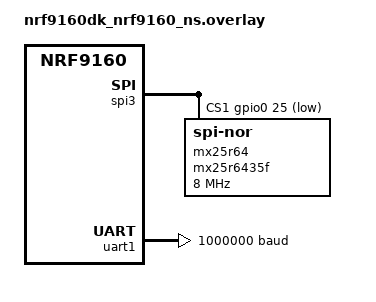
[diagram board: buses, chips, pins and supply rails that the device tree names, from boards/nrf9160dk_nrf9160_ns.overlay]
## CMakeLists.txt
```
#
# Copyright (c) 2022 Nordic Semiconductor
#
# SPDX-License-Identifier: LicenseRef-Nordic-5-Clause
#

cmake_minimum_required(VERSION 3.20.0)

find_package(Zephyr REQUIRED HINTS $ENV{ZEPHYR_BASE})
project(modem_trace_flash)

target_sources(app PRIVATE src/main.c)
target_sources_ifdef(MODEM_TRACE_FLASH_SAMPLE_UART app PRIVATE src/dump_uart.c)
```

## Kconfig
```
#
# Copyright (c) 2022 Nordic Semiconductor
#
# SPDX-License-Identifier: LicenseRef-Nordic-5-Clause
#

menu "Modem trace flash backend sample"

config MODEM_TRACE_FLASH_SAMPLE_UART
	bool
	default $(dt_chosen_enabled,$(DT_CHOSEN_NORDIC_MODEM_TRACE_UART))

endmenu

module = MODEM_TRACE_FLASH_SAMPLE
module-str = Modem trace flash backend
source "${ZEPHYR_BASE}/subsys/logging/Kconfig.template.log_config"

menu "Zephyr Kernel"
source "Kconfig.zephyr"
endmenu
```

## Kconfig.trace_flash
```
#
# Copyright (c) 2022 Nordic Semiconductor
#
# SPDX-License-Identifier: LicenseRef-Nordic-5-Clause
#

module = MODEM_TRACE_FLASH_BACKEND
module-str = Modem trace flash backend
source "${ZEPHYR_BASE}/subsys/logging/Kconfig.template.log_config"

if NRF_MODEM_LIB_TRACE

# Add NRF_MODEM_LIB_TRACE_BACKEND_FLASH to the trace backend choices.
choice NRF_MODEM_LIB_TRACE_BACKEND

config NRF_MODEM_LIB_TRACE_BACKEND_FLASH
	bool "Stream modem traces to flash"
	help
	  Configure nrf_modem_lib modem traces to use the flash backend in this sample.

endchoice # NRF_MODEM_LIB_TRACE_BACKEND

if NRF_MODEM_LIB_TRACE_BACKEND_FLASH

config PM_PARTITION_SIZE_MODEM_TRACE
	hex "External flash space reserved for modem traces"
	default 0x800000
	help
	  Flash space set aside for modem traces in the external flash.
endif # NRF_MODEM_LIB_TRACE_BACKEND_FLASH

endif # NRF_MODEM_LIB_TRACE_ENABLED
```

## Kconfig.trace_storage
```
#
# Copyright (c) 2022 Nordic Semiconductor
#
# SPDX-License-Identifier: LicenseRef-Nordic-5-Clause
#

module = MODEM_TRACE_STORAGE
module-str = Modem trace storage
source "${ZEPHYR_BASE}/subsys/logging/Kconfig.template.log_config"
```

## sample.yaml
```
sample:
  name: Modem trace flash
tests:
  sample.nrf9160.modem_trace_flash:
    build_only: true
    integration_platforms:
      - nrf9160dk_nrf9160_ns
    platform_allow: nrf9160dk_nrf9160_ns
    tags: ci_build
```

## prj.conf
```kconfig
#
# Copyright (c) 2022 Nordic Semiconductor ASA
#
# SPDX-License-Identifier: LicenseRef-Nordic-5-Clause
#

# Allow the application to reboot
CONFIG_REBOOT=y

# Logging
CONFIG_LOG=y
CONFIG_MODEM_TRACE_FLASH_SAMPLE_LOG_LEVEL_DBG=y
CONFIG_MODEM_TRACE_BACKEND_LOG_LEVEL_DBG=y

#CONFIG_NRF_MODEM_LIB_TRACE_BITRATE_LOG=y
#CONFIG_NRF_MODEM_LIB_TRACE_BACKEND_BITRATE_LOG=y

# Modem library
CONFIG_NRF_MODEM_LIB=y

# LTE link control
CONFIG_LTE_LINK_CONTROL=y

# Modem trace
CONFIG_NRF_MODEM_LIB_TRACE=y
CONFIG_NRF_MODEM_LIB_TRACE_BACKEND_FLASH=y

# Flash config
CONFIG_FCB=y
CONFIG_FLASH=y
CONFIG_FLASH_MAP=y

CONFIG_NRF_MODEM_TRACE_FLASH_NOSPACE_SIGNAL=y

# Heap and stacks
CONFIG_HEAP_MEM_POOL_SIZE=2048
CONFIG_MAIN_STACK_SIZE=4096
CONFIG_SYSTEM_WORKQUEUE_STACK_SIZE=4096
CONFIG_NRF_MODEM_LIB_TRACE_STACK_SIZE=4096

# GPIO
CONFIG_GPIO=y

# Library for buttons and LEDs
CONFIG_DK_LIBRARY=y

# UART
CONFIG_SERIAL=y

# Shell
CONFIG_SHELL=y
```

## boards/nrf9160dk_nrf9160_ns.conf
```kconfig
#
# Copyright (c) 2022 Nordic Semiconductor ASA
#
# SPDX-License-Identifier: LicenseRef-Nordic-5-Clause
#

CONFIG_SPI=y
CONFIG_SPI_NOR=y
CONFIG_SPI_NOR_SFDP_DEVICETREE=y

CONFIG_PM_OVERRIDE_EXTERNAL_DRIVER_CHECK=y
CONFIG_PM_PARTITION_SIZE_MODEM_TRACE=0x100000
```

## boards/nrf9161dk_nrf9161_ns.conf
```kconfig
#
# Copyright (c) 2022 Nordic Semiconductor ASA
#
# SPDX-License-Identifier: LicenseRef-Nordic-5-Clause
#

CONFIG_SPI=y
CONFIG_SPI_NOR=y
CONFIG_SPI_NOR_SFDP_DEVICETREE=y

CONFIG_PM_OVERRIDE_EXTERNAL_DRIVER_CHECK=y

# Reduce flash partition size to reduce erase time and flash usage.
CONFIG_NRF_MODEM_LIB_TRACE_BACKEND_FLASH_PARTITION_SIZE=0x100000
```

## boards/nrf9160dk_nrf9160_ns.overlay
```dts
/*
 * Copyright (c) 2022 Nordic Semiconductor ASA
 *
 * SPDX-License-Identifier: LicenseRef-Nordic-5-Clause
 */

 /* The mx25r64 definition would normally be included when specifying a nrf9160dk_nrf9160_ns
  * board revision >= 0.14.0, but unfortunately twister has a bug that prevents the revision
  * overlay to get loaded when testing the sample. */
&spi3 {
	cs-gpios = <&arduino_header 16 GPIO_ACTIVE_LOW>, /* D10 */
		   <&gpio0 25 GPIO_ACTIVE_LOW>;
	mx25r64: mx25r6435f@1 {
		compatible = "jedec,spi-nor";
		reg = <1>;
		status = "okay";
		spi-max-frequency = <8000000>;
		jedec-id = [c2 28 17];
		sfdp-bfp = [
			e5 20 f1 ff  ff ff ff 03  44 eb 08 6b  08 3b 04 bb
			ee ff ff ff  ff ff 00 ff  ff ff 00 ff  0c 20 0f 52
			10 d8 00 ff  23 72 f5 00  82 ed 04 cc  44 83 68 44
			30 b0 30 b0  f7 c4 d5 5c  00 be 29 ff  f0 d0 ff ff
		];
		size = <67108864>;
		mxicy,mx25r-power-mode = "high-performance";
	};
};

/* Enable high drive mode for the SPI3 pins to get a square signal at 8 MHz */
&spi3_default {
	group1 {
		nordic,drive-mode = <NRF_DRIVE_H0H1>;
	};
};

/* Enable UART1 at 1 megabaud for printing modem traces  */
&uart1 {
	status = "okay";
	current-speed = <1000000>;
};

/ {
	aliases {
		ext-flash = &mx25r64;
	};

	chosen {
		/* Configure partition manager to use mx25r64 as the external flash */
		nordic,pm-ext-flash = &mx25r64;
		/* Use UART1 for modem traces (on button press) */
		nordic,modem-trace-uart = &uart1;
	};
};
```

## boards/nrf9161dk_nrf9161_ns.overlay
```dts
/*
 * Copyright (c) 2022 Nordic Semiconductor ASA
 *
 * SPDX-License-Identifier: LicenseRef-Nordic-5-Clause
 */


/ {
	aliases {
		ext-flash = &gd25lb256;
	};

	/* Configure partition manager to use gd25lb256 as the external flash */
	chosen {
		nordic,pm-ext-flash = &gd25lb256;
	};
};

/* Enable UART1 at 1 megabaud for printing modem traces  */
&uart1 {
	status = "okay";
	current-speed = <1000000>;
};

&gd25lb256 {
	status = "okay";
};
```

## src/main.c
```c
/*
 * Copyright (c) 2022 Nordic Semiconductor ASA
 *
 * SPDX-License-Identifier: LicenseRef-Nordic-5-Clause
 */

#include <zephyr/kernel.h>
#include <zephyr/logging/log.h>
#include <modem/lte_lc.h>
#include <modem/nrf_modem_lib.h>
#include <modem/nrf_modem_lib_trace.h>
#include <nrf_modem.h>
#include <nrf_modem_at.h>
#include <dk_buttons_and_leds.h>

#include <zephyr/sys/reboot.h>

LOG_MODULE_REGISTER(modem_trace_flash_sample, CONFIG_MODEM_TRACE_FLASH_SAMPLE_LOG_LEVEL);

LTE_LC_ON_CFUN(cfun_hook, on_cfun, NULL);

/* Callback for when modem functional mode is changed */
static void on_cfun(enum lte_lc_func_mode mode, void *context)
{
	LOG_INF("LTE mode changed to %d\n", mode);
}



static void print_traces(void)
{
	if (IS_ENABLED(MODEM_TRACE_FLASH_SAMPLE_UART)) {
		print_traces();
	} else {
		LOG_ERR("No chosen device found for nordic,modem-trace-uart");
	}
}

static void button_handler(uint32_t button_states, uint32_t has_changed)
{
	if (has_changed & button_states & DK_BTN1_MSK) {
		printk("Button 1 pressed - dumping traces to uart1\n");
		print_traces();
	}

	if (has_changed & button_states & DK_BTN2_MSK) {
		printk("Button 2 pressed - restarting application\n");
		sys_reboot(SYS_REBOOT_WARM);
	}
}

void nrf_modem_lib_trace_callback(enum nrf_modem_lib_trace_event evt)
{
	switch (evt) {
	case NRF_MODEM_LIB_TRACE_EVT_FULL:
		printk("Modem trace backend is full\n");
		break;
	default:
		printk("Received trace callback %d\n", evt);
		break;
	}
}

int main(void)
{
	int err;

	LOG_INF("Modem trace backend sample started\n");

	err = dk_buttons_init(button_handler);
	if (err) {
		LOG_ERR("Failed to initialize DK buttons library, error: %d\n", err);
	}

	nrf_modem_lib_init();

	err = nrf_modem_lib_trace_level_set(NRF_MODEM_LIB_TRACE_LEVEL_FULL);
	if (err) {
		LOG_ERR("Failed to enable modem traces");
	}

	LOG_INF("Connecting to network\n");

	err = lte_lc_func_mode_set(LTE_LC_FUNC_MODE_NORMAL);
	if (err) {
		LOG_ERR("Failed to change LTE mode, err %d\n", err);
		return 0;
	}

	/* Leave the modem on for 10 seconds */
	k_sleep(K_SECONDS(10));

	err = lte_lc_func_mode_set(LTE_LC_FUNC_MODE_POWER_OFF);
	if (err) {
		LOG_ERR("Failed to change LTE mode, err %d\n", err);
		return 0;
	}

	/* Give the modem some time to turn off and receive traces */
	k_sleep(K_SECONDS(5));

	err = nrf_modem_lib_trace_level_set(NRF_MODEM_LIB_TRACE_LEVEL_OFF);
	if (err) {
		LOG_ERR("Failed to turn off modem traces\n");
	} else {
		LOG_INF("Turned off modem traces\n");
	}

	/* Changing the trace level to off will produce some traces, so sleep long enough to
	 * receive those as well.
	 */
	k_sleep(K_SECONDS(1));

	LOG_INF("Press button 1 to print traces to UART");
	LOG_INF("Press button 2 to restart application (warm boot)");

	return 0;
}
```

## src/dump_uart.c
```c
/*
 * Copyright (c) 2023 Nordic Semiconductor ASA
 *
 * SPDX-License-Identifier: LicenseRef-Nordic-5-Clause
 */
#include <zephyr/kernel.h>
#include <zephyr/logging/log.h>
#include <zephyr/device.h>
#include <zephyr/drivers/uart.h>

LOG_MODULE_REGISTER(modem_trace_flash_sample, CONFIG_MODEM_TRACE_FLASH_SAMPLE_LOG_LEVEL);

#define READ_BUF_SIZE CONFIG_NRF_MODEM_LIB_TRACE_BACKEND_FLASH_BUF_SIZE
#define UART_DEVICE_NODE DT_CHOSEN(nordic_modem_trace_uart)
static const struct device *const uart_dev = DEVICE_DT_GET_OR_NULL(UART_DEVICE_NODE);

static void print_uart(char *buf, int len)
{
	if (uart_dev == NULL || !device_is_ready(uart_dev)) {
		LOG_ERR("uart1 device not found/ready!");
		return;
	}
	for (int i = 0; i < len; i++) {
		uart_poll_out(uart_dev, buf[i]);
	}
}

static void print_traces(void)
{
	uint8_t read_buf[READ_BUF_SIZE];
	int ret;
	size_t read_offset = 0;

	if (!device_is_ready(uart_dev)) {
		LOG_ERR("uart1 device not found/ready!");
	}

	ret = nrf_modem_lib_trace_data_size();
	printk("Reading out %d bytes of trace data\n", ret);

	/* Read out the trace data from flash */
	while (ret > 0) {
		ret = nrf_modem_lib_trace_read(read_buf, READ_BUF_SIZE);
		if (ret < 0) {
			if (ret == -ENODATA) {
				break;
			}
			LOG_ERR("Error reading modem traces: %d", ret);
			break;
		}
		if (ret == 0) {
			LOG_DBG("No more traces to read from flash");
			break;
		}

		read_offset += ret;
		print_uart(read_buf, ret);
	}

	LOG_INF("Total trace bytes read from flash: %d", read_offset);
}
```

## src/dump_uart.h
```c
/*
 * Copyright (c) 2023 Nordic Semiconductor ASA
 *
 * SPDX-License-Identifier: LicenseRef-Nordic-5-Clause
 */

#ifndef MODEM_TRACE_FLASH_DUMP_UART_H
#define MODEM_TRACE_FLASH_DUMP_UART_H

static void print_traces(void);

#endif /* MODEM_TRACE_FLASH_DUMP_UART_H */
```

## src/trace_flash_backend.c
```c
/*
 * Copyright (c) 2022 Nordic Semiconductor ASA
 *
 * SPDX-License-Identifier: LicenseRef-Nordic-5-Clause
 */
#include <stdio.h>
#include <sys/errno.h>
#include <zephyr/logging/log.h>
#include <modem/trace_backend.h>

#include "trace_storage.h"

LOG_MODULE_REGISTER(modem_trace_flash_backend, CONFIG_MODEM_TRACE_FLASH_BACKEND_LOG_LEVEL);

static trace_backend_processed_cb trace_processed_callback;

int trace_backend_init(trace_backend_processed_cb trace_processed_cb)
{
	if (trace_processed_cb == NULL) {
		return -EFAULT;
	}

	trace_processed_callback = trace_processed_cb;

	return trace_storage_init();
}

int trace_backend_deinit(void)
{
	LOG_DBG("Flash trace backend deinitialized\n");
	return 0;
}

int trace_backend_write(const void *data, size_t len)
{
	int write_ret = trace_storage_write(data, len);

	if (write_ret < 0) {
		LOG_ERR("trace_storage_write failed: %d", write_ret);
	}

	int cb_ret = trace_processed_callback(len);

	if (cb_ret < 0) {
		LOG_ERR("trace_processed_callback failed: %d", cb_ret);
		return cb_ret;
	}

	if (write_ret < 0) {
		return write_ret;
	}

	return (int)len;
}
```

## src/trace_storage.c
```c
/*
 * Copyright (c) 2022 Nordic Semiconductor ASA
 *
 * SPDX-License-Identifier: LicenseRef-Nordic-5-Clause
 */

#include <stdio.h>
#include <string.h>
#include <sys/errno.h>
#include <zephyr/kernel.h>
#include <zephyr/storage/stream_flash.h>
#include <zephyr/storage/flash_map.h>
#include <zephyr/logging/log.h>

#include "trace_storage.h"

LOG_MODULE_REGISTER(modem_trace_storage, CONFIG_MODEM_TRACE_STORAGE_LOG_LEVEL);

#define EXT_FLASH_DEVICE DEVICE_DT_GET(DT_ALIAS(ext_flash))
#define TRACE_OFFSET FLASH_AREA_OFFSET(modem_trace)
#define TRACE_SIZE FLASH_AREA_SIZE(modem_trace)
#define BUF_LEN 1024

static const struct flash_area *modem_trace_area;
static const struct device *flash_dev;
static struct stream_flash_ctx stream;
static uint8_t stream_buf[BUF_LEN];
static bool has_flushed;

/* Persist trace size in .noinit RAM to survive warm boot. This functionality is not used in the
 * sample now, but is here to show how it's possible to know the size written to flash after a
 * crash/restart.
 */
static __noinit uint32_t magic;
static __noinit uint32_t traces_size;

static int64_t tot_write_time;

static int internal_flash_write(const void *data, size_t len, bool flush)
{
	int64_t uptime_ref = k_uptime_get();
	int64_t write_time;

	int err = stream_flash_buffered_write(&stream, data, len, flush);

	if (err != 0) {
		LOG_ERR("stream_flash_buffered_write error %d", err);
		return err;
	}

	write_time = k_uptime_delta(&uptime_ref);
	tot_write_time += write_time;

	traces_size += len;

	return 0;
}

static const uint32_t magic_val = 0x152ac523;
int trace_storage_init(void)
{
	int err;

	LOG_DBG("trace_storage_init\n");

	/* After a cold boot the magic and traces_size will contain random values. */
	if (magic != magic_val) {
		/* This is a cold reboot. Initialize. */
		LOG_DBG("Initializing .noinit\n");
		magic = magic_val;
		traces_size = 0;
	} else if (traces_size > 0) {
		LOG_DBG("Found modem traces stored in flash after soft reboot: %d", traces_size);
		/* Add custom logic here to preserve traces before erasing the flash */
	}

	traces_size = 0;

	err = flash_area_open(FLASH_AREA_ID(modem_trace), &modem_trace_area);
	if (err) {
		LOG_ERR("flash_area_open error:  %d", err);
		return -ENODEV;
	}

	err = flash_area_has_driver(modem_trace_area);
	if (err != 1) {
		LOG_ERR("flash_area_has_driver error: %d\n", err);
	}

	flash_dev = flash_area_get_device(modem_trace_area);
	if (flash_dev == NULL) {
		LOG_ERR("Failed to get flash device\n");
		return -ENODEV;
	}

	err = stream_flash_init(&stream, flash_dev, stream_buf, BUF_LEN, TRACE_OFFSET, TRACE_SIZE,
		NULL);
	if (err) {
		LOG_ERR("stream_flash_init error: %d", err);
		return err;
	}

	int64_t erase_before = k_uptime_get();

	/* In order to write modem traces uninterrupted at full speed, we need to erase the flash
	 * before starting the modem tracing.
	 */
	err = flash_erase(flash_dev, TRACE_OFFSET, TRACE_SIZE);
	if (err) {
		LOG_ERR("flash_erase error: %d", err);
		return err;
	}
	int64_t erase_time = k_uptime_delta(&erase_before);

	LOG_DBG("Erased %lu bytes in %lld ms", (unsigned long) TRACE_SIZE, erase_time);
	LOG_DBG("Erase speed %lld kb/s ", (TRACE_SIZE * 8 / erase_time));

	tot_write_time = 0;

	LOG_DBG("Modem trace flash storage initialized\n");

	return 0;
}

int trace_storage_flush(void)
{
	int err = internal_flash_write(NULL, 0, true);

	if (err != 0) {
		LOG_ERR("Flush to flash failed: %d", err);
		return err;
	}

	has_flushed = true;

	LOG_DBG("Written %d bytes in %lld ms", traces_size, tot_write_time);
	LOG_DBG("Throughput = %lld kb/s ", (traces_size * 8 / tot_write_time));

	return 0;
}

int trace_storage_read(uint8_t *buf, size_t len, size_t offset)
{
	__ASSERT(traces_size > offset, "offset should not exceed size of traces");
	uint32_t bytes_left = traces_size - offset;
	size_t read_len = MIN(bytes_left, len);

	if (!has_flushed) {
		return -EIO;
	}

	int err = flash_area_read(modem_trace_area, offset, buf, read_len);

	if (err != 0) {
		LOG_ERR("flash_area_read error %d", err);
		return err;
	}

	return read_len;
}

int trace_storage_write(const void *buf, size_t len)
{
	if (has_flushed) {
		return -EIO;
	}

	return internal_flash_write(buf, len, false);
}
```

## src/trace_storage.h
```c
/*
 * Copyright (c) 2022 Nordic Semiconductor ASA
 *
 * SPDX-License-Identifier: LicenseRef-Nordic-5-Clause
 */

#include <stddef.h>

/**
 * @brief Initialize trace storage
 *
 * @details Initialize the flash device and erase the flash area.
 *
 * @return 0 on success, negative errno code on fail
 */
int trace_storage_init(void);

/**
 * @brief Read trace data from flash storage
 *
 * @details Read out the trace data from flash memory. It is required to call trace_storage_flush()
 * first.
 *
 * @param buf Output buffer
 * @param len Size of output buffer
 * @param offset Read offset
 *
 * @return 0 on success, negative errno code on fail
 */
int trace_storage_read(uint8_t *buf, size_t len, size_t offset);

/**
 * @brief Write trace data to flash storage
 *
 * @param buf Buffer to write
 * @param len Size of data in the buffer
 *
 * @return 0 on success, negative errno on fail
 */
int trace_storage_write(const void *buf, size_t len);

/**
 * @brief Flush traces to flash storage
 *
 * @details Forces write of the remaining block buffer to flash. Call this function after modem
 * traces has been turned off and no more trace data is expected.
 *
 * @return 0 on success, negative errno code on fail
 */
int trace_storage_flush(void);
```
